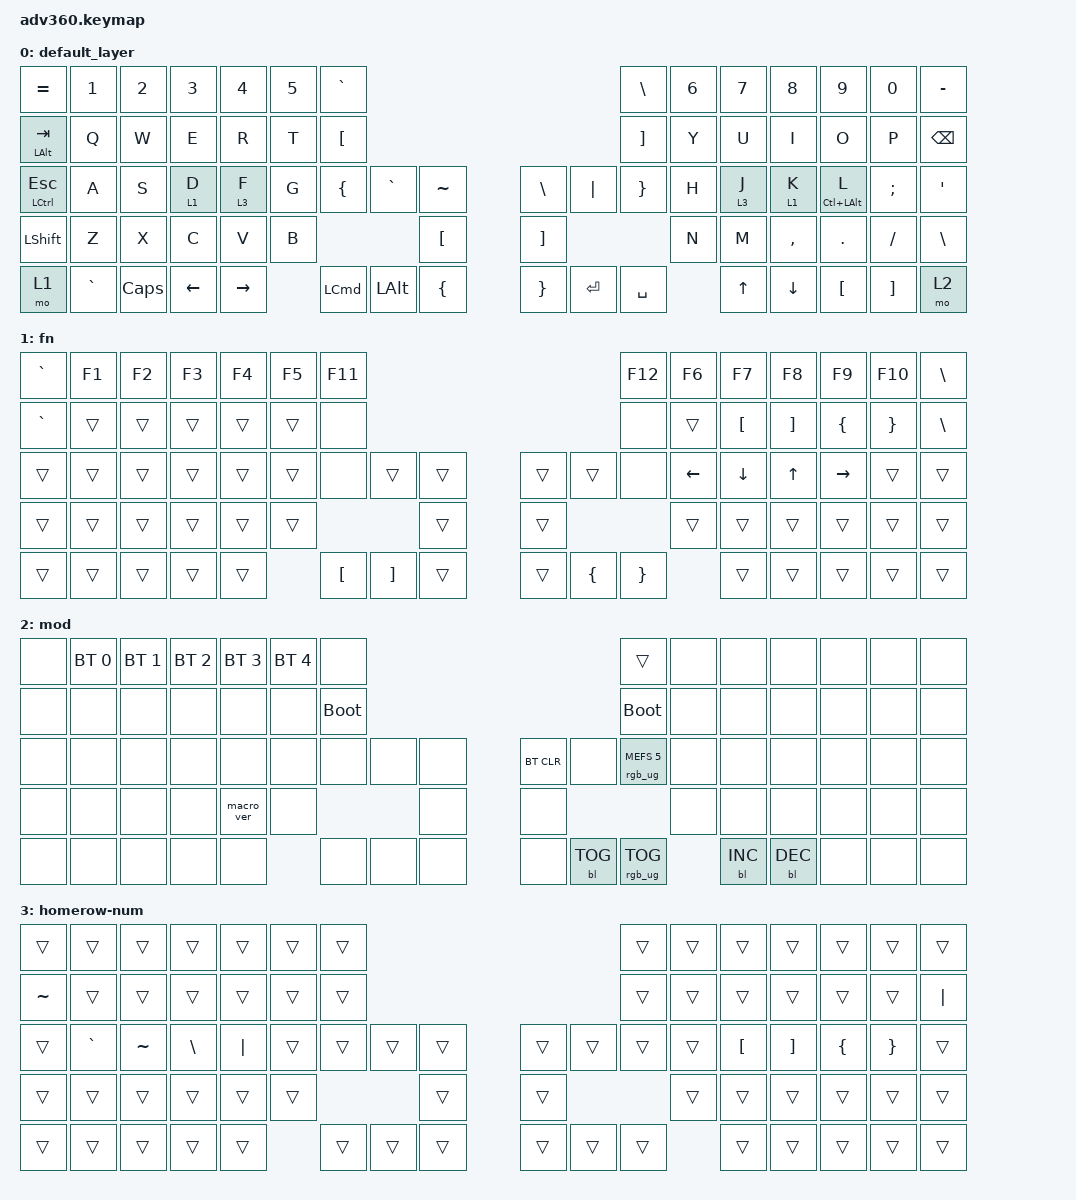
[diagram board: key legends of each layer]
#include <behaviors.dtsi>
#include <dt-bindings/zmk/backlight.h>
#include <dt-bindings/zmk/bt.h>
#include <dt-bindings/zmk/keys.h>
#include <dt-bindings/zmk/rgb.h>

/ {
    behaviors {
        #include "macros.dtsi"
      #include "version.dtsi"
      #ifndef VERSION_MACRO

        macro_ver: macro_ver {
            compatible = "zmk,behavior-macro";
            label = "macro_version";
            #binding-cells = <0>;
            bindings = <&kp RET>;
        };

        #endif

        hm: homerow_mods {
            compatible = "zmk,behavior-hold-tap";
            label = "HOMEROW_MODS";
            #binding-cells = <2>;
            tapping-term-ms = <200>;
            quick_tap_ms = <175>;
            flavor = "tap-preferred";
            bindings = <&kp>, <&kp>;
        };
    };

    macros {
    };

    keymap {
        compatible = "zmk,keymap";

        default_layer {
            bindings = <
&kp EQUAL                &kp N1     &kp N2    &kp N3    &kp N4     &kp N5  &kp GRAVE                                                                           &kp BACKSLASH      &kp N6  &kp N7   &kp N8     &kp N9              &kp N0    &kp MINUS
&hm LEFT_ALT TAB         &kp Q      &kp W     &kp E     &kp R      &kp T   &kp LEFT_BRACKET                                                                    &kp RIGHT_BRACKET  &kp Y   &kp U    &kp I      &kp O               &kp P     &kp BACKSPACE
&hm LEFT_CONTROL ESCAPE  &kp A      &kp S     &lt 1 D   &lt 3 F    &kp G   &kp LEFT_BRACE    &kp GRAVE     &kp TILDE             &kp BACKSLASH      &kp PIPE   &kp RIGHT_BRACE    &kp H   &lt 3 J  &lt 1 K    &hm LC(LEFT_ALT) L  &kp SEMI  &kp SQT
&kp LSHFT                &kp Z      &kp X     &kp C     &kp V      &kp B                                   &kp LEFT_BRACKET      &kp RIGHT_BRACKET                                &kp N   &kp M    &kp COMMA  &kp DOT             &kp FSLH  &kp BACKSLASH
&mo 1                    &kp GRAVE  &kp CAPS  &kp LEFT  &kp RIGHT          &kp LEFT_COMMAND  &kp LEFT_ALT  &kp LEFT_BRACE        &kp RIGHT_BRACE    &kp ENTER  &kp SPACE                  &kp UP   &kp DOWN   &kp LBKT            &kp RBKT  &mo 2
            >;
        };

        fn {
            bindings = <
&kp GRAVE  &kp F1  &kp F2  &kp F3  &kp F4  &kp F5  &kp F11                                                                  &kp F12          &kp F6          &kp F7            &kp F8             &kp F9           &kp F10          &kp BACKSLASH
&kp GRAVE  &trans  &trans  &trans  &trans  &trans  &none                                                                    &none            &trans          &kp LEFT_BRACKET  &kp RIGHT_BRACKET  &kp LEFT_BRACE   &kp RIGHT_BRACE  &kp BACKSLASH
&trans     &trans  &trans  &trans  &trans  &trans  &none             &trans             &trans      &trans  &trans          &none            &kp LEFT_ARROW  &kp DOWN_ARROW    &kp UP_ARROW       &kp RIGHT_ARROW  &trans           &trans
&trans     &trans  &trans  &trans  &trans  &trans                                       &trans      &trans                                   &trans          &trans            &trans             &trans           &trans           &trans
&trans     &trans  &trans  &trans  &trans          &kp LEFT_BRACKET  &kp RIGHT_BRACKET  &trans      &trans  &kp LEFT_BRACE  &kp RIGHT_BRACE                  &trans            &trans             &trans           &trans           &trans
            >;
        };

        mod {
            bindings = <
&none  &bt BT_SEL 0  &bt BT_SEL 1  &bt BT_SEL 2  &bt BT_SEL 3  &bt BT_SEL 4  &none                                                  &trans                  &none  &none       &none       &none  &none  &none
&none  &none         &none         &none         &none         &none         &bootloader                                            &bootloader             &none  &none       &none       &none  &none  &none
&none  &none         &none         &none         &none         &none         &none        &none  &none      &bt BT_CLR  &none       &rgb_ug RGB_MEFS_CMD 5  &none  &none       &none       &none  &none  &none
&none  &none         &none         &none         &macro_ver    &none                             &none      &none                                           &none  &none       &none       &none  &none  &none
&none  &none         &none         &none         &none                       &none        &none  &none      &none       &bl BL_TOG  &rgb_ug RGB_TOG                &bl BL_INC  &bl BL_DEC  &none  &none  &none
            >;
        };

        homerow-num {
            bindings = <
&trans     &trans     &trans     &trans         &trans    &trans  &trans                                      &trans  &trans  &trans            &trans             &trans          &trans           &trans
&kp TILDE  &trans     &trans     &trans         &trans    &trans  &trans                                      &trans  &trans  &trans            &trans             &trans          &trans           &kp PIPE
&trans     &kp GRAVE  &kp TILDE  &kp BACKSLASH  &kp PIPE  &trans  &trans  &trans  &trans      &trans  &trans  &trans  &trans  &kp LEFT_BRACKET  &kp RIGHT_BRACKET  &kp LEFT_BRACE  &kp RIGHT_BRACE  &trans
&trans     &trans     &trans     &trans         &trans    &trans                  &trans      &trans                  &trans  &trans            &trans             &trans          &trans           &trans
&trans     &trans     &trans     &trans         &trans            &trans  &trans  &trans      &trans  &trans  &trans          &trans            &trans             &trans          &trans           &trans
            >;
        };
    };
};
